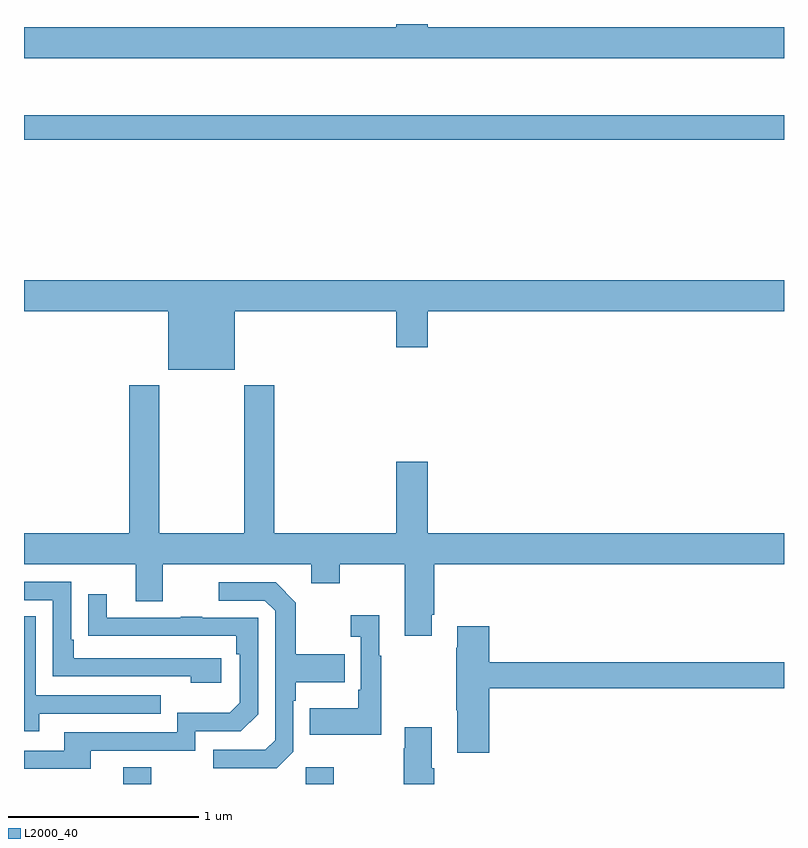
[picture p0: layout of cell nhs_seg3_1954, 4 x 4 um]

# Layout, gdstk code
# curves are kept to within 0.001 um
import gdstk
lib = gdstk.Library(unit=1e-6, precision=1e-09)
def R(c, l, rs):  # rectangles x0, y0, x1, y1
    for r in rs: c.add(gdstk.rectangle(r[:2], r[2:], *l))
def P(c, l, *ps):  # polygons
    for p in ps: c.add(gdstk.Polygon(p, *l))
L2000_40 = (2000, 40)

nhs_seg3_1954 = lib.new_cell('nhs_seg3_1954')
R(nhs_seg3_1954, L2000_40, [(211.523,726.4,211.671,726.487), (212.484,726.4,212.631,726.487), (211,729.79,215,729.919)])
P(nhs_seg3_1954, L2000_40, [(215,730.384),(213.124,730.384),(213.124,730.4),(212.96,730.4),(212.96,730.384),(211,730.384),(211,730.22),(215,730.22)],
  [(212.11,728.888),(212.96,728.888),(212.96,728.7),(213.124,728.7),(213.124,728.888),(215,728.888),(215,729.052),(211,729.052),(211,728.888),(211.76,728.888),(211.76,728.579),(212.11,728.579)],
  [(213.145,727.291),(213.158,727.291),(213.158,727.556),(215,727.556),(215,727.72),(213.124,727.72),(213.124,728.095),(212.96,728.095),(212.96,727.72),(212.318,727.72),(212.318,728.5),(212.158,728.5),(212.158,727.72),(211.713,727.72),(211.713,728.5),(211.553,728.5),(211.553,727.72),(211,727.72),(211,727.556),(211.589,727.556),(211.589,727.362),(211.729,727.362),(211.729,727.556),(212.513,727.556),(212.513,727.457),(212.661,727.457),(212.661,727.556),(213.005,727.556),(213.005,727.179),(213.145,727.179)],
  [(212.038,727.062),(211.261,727.062),(211.261,727.159),(211.248,727.159),(211.248,727.464),(211,727.464),(211,727.368),(211.152,727.368),(211.152,726.966),(211.877,726.966),(211.877,726.932),(212.038,726.932)],
  [(212.418,726.57),(212.418,726.839),(212.431,726.839),(212.431,726.935),(212.687,726.935),(212.687,727.083),(212.431,727.083),(212.431,727.355),(212.325,727.461),(212.025,727.461),(212.025,727.365),(212.268,727.365),(212.322,727.311),(212.322,726.63),(212.271,726.579),(211.995,726.579),(211.995,726.483),(212.331,726.483)],
  [(211.351,726.576),(211.902,726.576),(211.902,726.678),(212.142,726.678),(212.232,726.768),(212.232,727.275),(211.937,727.275),(211.937,727.28),(211.825,727.28),(211.825,727.275),(211.435,727.275),(211.435,727.399),(211.339,727.399),(211.339,727.18),(212.116,727.179),(212.116,727.082),(212.136,727.082),(212.136,726.828),(212.083,726.775),(211.806,726.775),(211.806,726.672),(211.211,726.672),(211.211,726.576),(211,726.576),(211,726.48),(211.351,726.48)],
  [(212.881,727.075),(212.869,727.075),(212.869,727.288),(212.721,727.288),(212.721,727.175),(212.772,727.175),(212.772,726.895),(212.76,726.895),(212.76,726.799),(212.503,726.799),(212.503,726.659),(212.881,726.659)],
  [(211.081,726.771),(211.721,726.771),(211.721,726.867),(211.062,726.867),(211.062,727.283),(211,727.283),(211,726.677),(211.081,726.677)],
  [(213.449,726.904),(215,726.904),(215,727.04),(213.449,727.04),(213.449,727.231),(213.281,727.231),(213.281,727.118),(213.274,727.118),(213.274,726.787),(213.281,726.787),(213.281,726.564),(213.449,726.564)],
  [(213.158,726.484),(213.145,726.484),(213.145,726.7),(213.005,726.7),(213.005,726.587),(212.998,726.587),(212.998,726.4),(213.158,726.4)])

lib.write_gds('nhs_seg3_1954.gds')
